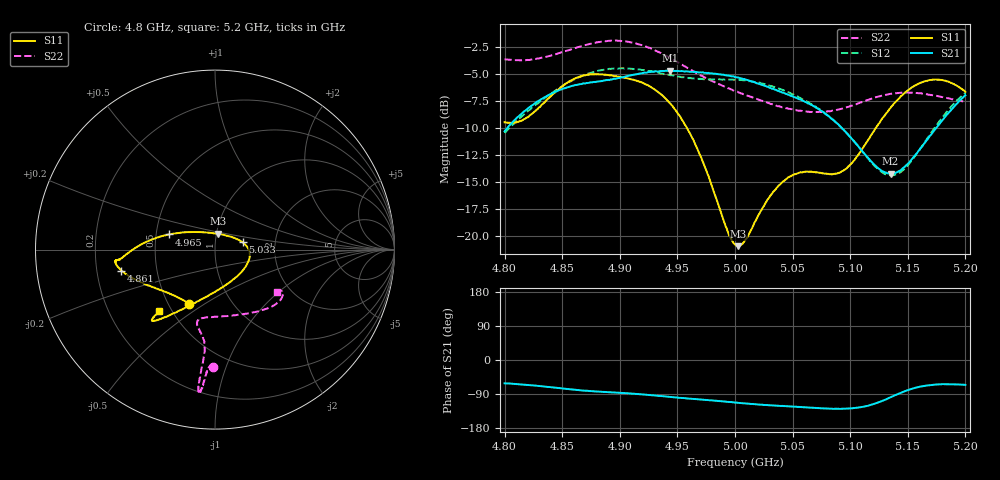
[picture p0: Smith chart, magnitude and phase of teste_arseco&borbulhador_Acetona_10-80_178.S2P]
! Network Analyzer HP8722D
! Hewlett-Packard
! Data name: Linha & Wilkinson
! Saver's name: Rodrigo Anjos
! Comments: Teste da utilização de aquisição
! continua pelo VNA HP8722D
! Time and date: 17/4/2025 15:50
!  Frequency  S11  S21  S12  S22
# HZ  S  MA R 50
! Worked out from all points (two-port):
!   401 points, 4.8 GHz to 5.2 GHz, reference 50 ohm
!   highest |S21| = -4.70 dB at 4.944 GHz (marker M1); lowest = -14.3 dB at 5.135 GHz (marker M2)
!   |S21| within 3 dB of the highest: 4.827 GHz to 5.063 GHz (235.8 MHz wide, 4.77 % of centre); 5.193267 GHz to end of sweep
!   lowest |S11| = -21.0 dB at 5.003 GHz (marker M3), VSWR 1.20, Z = 50.7 + j9 ohm
!   |S11| at or under -10 dB: 4.958 GHz to 5.122 GHz (164.2 MHz wide, 3.26 % of centre)
!   |S22| runs from -8.6 to -1.9 dB; largest |S21 - S12| = 0.87
!   S11 on the Smith chart (normalised r, x): 4.8 GHz: 0.63, -0.43; 4.861 GHz: 0.31, -0.10; 4.965 GHz: 0.59, +0.11; 5.033 GHz: 1.36, +0.11; 5.2 GHz: 0.43, -0.37
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4.8e9  0.3351 -115.4  0.3045 -61.6  0.2993 -175.9  0.6563 -90.8
4.819e9  0.3516 -135.5  0.3833 -65.5  0.3727 -175.1  0.6513 -92.4
4.861e9  0.535 -167.4  0.4978 -78.5  0.5327 -178.5  0.7384 -94.9
4.867e9  0.5491 -169.8  0.504 -80.3  0.5491 -179.6  0.7568 -95.1
4.899e9  0.5447 -174.0  0.5377 -86.5  0.5952 174.1  0.7989 -96.5
4.934e9  0.4599 -179.8  0.5775 -94.8  0.569 170.7  0.7078 -96.8
4.944e9  0.4084 175.6  0.5821 -97.6  0.5534 170.8  0.6638 -96.4
4.965e9  0.2687 161.6  0.5756 -103.2  0.5341 172.6  0.5729 -95.8
4.994e9  0.1033 113.3  0.5517 -110.5  0.5286 174.9  0.4814 -98.6
5e9  0.09091 91.9  0.5429 -112.3  0.5282 175.1  0.4675 -99.8
5.003e9  0.08931 80.2  0.5401 -113.1  0.5263 174.9  0.461 -100.6
5.011e9  0.09896 53.0  0.5257 -115.2  0.5196 174.9  0.4446 -102.1
5.033e9  0.1593 14.9  0.4795 -119.9  0.4895 173.6  0.4048 -103.5
5.049e9  0.1887 -0.8  0.443 -122.7  0.4536 173.1  0.3854 -99.3
5.067e9  0.1974 -20.0  0.4024 -125.9  0.4055 172.7  0.3737 -89.4
5.096e9  0.2034 -70.5  0.3027 -128.4  0.3024 174.5  0.3919 -66.7
5.122e9  0.3144 -110.1  0.2109 -114.6  0.2082 -169.4  0.4373 -49.1
5.134e9  0.3848 -119.4  0.1939 -99.7  0.1902 -152.8  0.4533 -43.1
5.135e9  0.3914 -120.0  0.1933 -98.5  0.1899 -151.1  0.4539 -42.7
5.148e9  0.4624 -126.0  0.2103 -81.6  0.2061 -131.8  0.4602 -37.8
5.168e9  0.5242 -130.8  0.2839 -67.0  0.2877 -113.2  0.4499 -33.0
5.2e9  0.4639 -132.2  0.4469 -65.7  0.4587 -107.9  0.4163 -34.3
